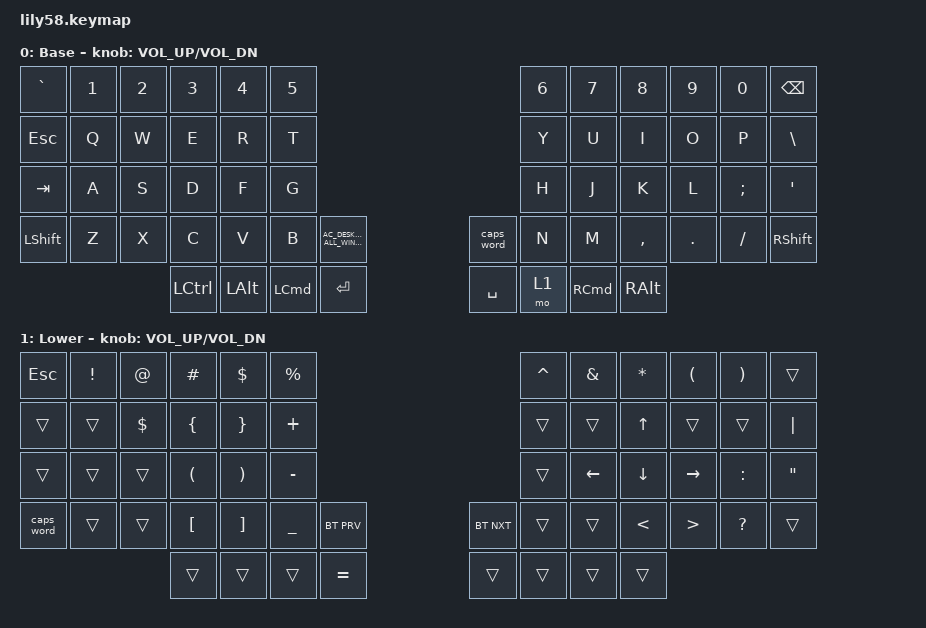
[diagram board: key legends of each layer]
/*
 * Copyright (c) 2020 The ZMK Contributors
 *
 * SPDX-License-Identifier: MIT
 */

#include <behaviors.dtsi>
#include <dt-bindings/zmk/bt.h>
#include <dt-bindings/zmk/keys.h>

/ {
    keymap {
        compatible = "zmk,keymap";

        default_layer {
            // ------------------------------------------------------------------------------------------------------------
            // |  ESC  |  1  |  2  |  3   |  4   |  5   |                   |  6   |  7    |  8    |  9   |   0   |   `   |
            // |  TAB  |  Q  |  W  |  E   |  R   |  T   |                   |  Y   |  U    |  I    |  O   |   P   |   -   |
            // |  CTRL |  A  |  S  |  D   |  F   |  G   |                   |  H   |  J    |  K    |  L   |   ;   |   '   |
            // | SHIFT |  Z  |  X  |  C   |  V   |  B   |   "["  |  |  "]"  |  N   |  M    |  ,    |  .   |   /   | SHIFT |
            //                     | ALT  | GUI  | LOWER|  SPACE |  | ENTER | RAISE| BSPC  | GUI   |

            display-name = "Base";
            bindings = <
&kp GRAVE  &kp N1  &kp N2  &kp N3            &kp N4        &kp N5                                                             &kp N6  &kp N7             &kp N8         &kp N9   &kp N0    &kp BACKSPACE
&kp ESC    &kp Q   &kp W   &kp E             &kp R         &kp T                                                              &kp Y   &kp U              &kp I          &kp O    &kp P     &kp BACKSLASH
&kp TAB    &kp A   &kp S   &kp D             &kp F         &kp G                                                              &kp H   &kp J              &kp K          &kp L    &kp SEMI  &kp SQT
&kp LSHFT  &kp Z   &kp X   &kp C             &kp V         &kp B             &kp C_AC_DESKTOP_SHOW_ALL_WINDOWS    &caps_word  &kp N   &kp M              &kp COMMA      &kp DOT  &kp FSLH  &kp RSHFT
                           &kp LEFT_CONTROL  &kp LEFT_ALT  &kp LEFT_COMMAND  &kp ENTER                            &kp SPACE   &mo 1   &kp RIGHT_COMMAND  &kp RIGHT_ALT
            >;

            sensor-bindings = <&inc_dec_kp C_VOL_UP C_VOL_DN>;
        };

        lower_layer {
            // ------------------------------------------------------------------------------------------------------------
            // | BTCLR | BT1 | BT2 |  BT3 |  BT4 |  BT5 |                   |      |       |       |      |       |       |
            // |  F1   |  F2 |  F3 |  F4  |  F5  |  F6  |                   |  F7  |  F8   |  F9   |  F10 |  F11  |  F12  |
            // |   `   |  !  |  @  |  #   |  $   |  %   |                   |  ^   |  &    |  *    |  (   |   )   |   ~   |
            // |       |     |     |      |      |      |        |  |       |      |  _    |  +    |  {   |   }   |  "|"  |
            //                     |      |      |      |        |  |       |      |       |       |

            display-name = "Lower";
            bindings = <
&kp ESCAPE  &kp EXCLAMATION  &kp AT_SIGN  &kp HASH              &kp DOLLAR             &kp PERCENT                            &kp CARET  &kp AMPERSAND  &kp ASTERISK   &kp LEFT_PARENTHESIS  &kp RIGHT_PARENTHESIS  &trans
&trans      &trans           &kp DOLLAR   &kp LEFT_BRACE        &kp RIGHT_BRACE        &kp PLUS                               &trans     &trans         &kp UP_ARROW   &trans                &trans                 &kp PIPE
&trans      &trans           &trans       &kp LEFT_PARENTHESIS  &kp RIGHT_PARENTHESIS  &kp MINUS                              &trans     &kp LEFT       &kp DOWN       &kp RIGHT             &kp COLON              &kp DOUBLE_QUOTES
&caps_word  &trans           &trans       &kp LEFT_BRACKET      &kp RIGHT_BRACKET      &kp UNDER    &bt BT_PRV    &bt BT_NXT  &trans     &trans         &kp LESS_THAN  &kp GREATER_THAN      &kp QUESTION           &trans
                                          &trans                &trans                 &trans       &kp EQUAL     &trans      &trans     &trans         &trans
            >;

            sensor-bindings = <&inc_dec_kp C_VOL_UP C_VOL_DN>;
        };
    };
};
